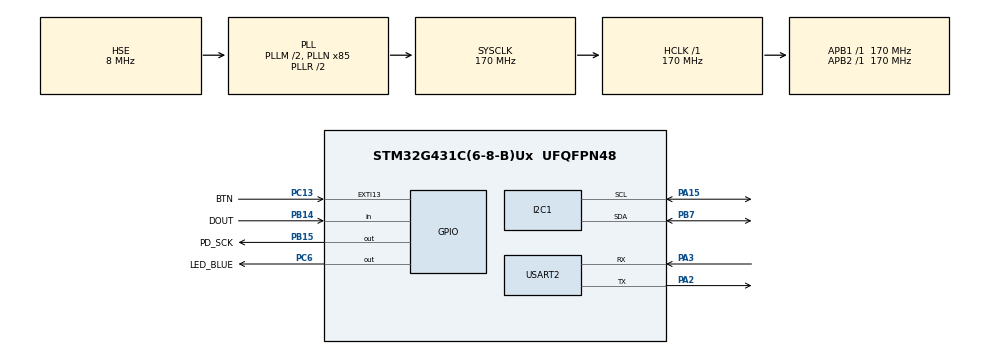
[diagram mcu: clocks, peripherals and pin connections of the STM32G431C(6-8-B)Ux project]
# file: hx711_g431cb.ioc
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I2C1.Timing=0x30A0A7FB
Mcu.Family=STM32G4
Mcu.Name=STM32G431C(6-8-B)Ux
Mcu.Package=UFQFPN48
NVIC.EXTI15_10_IRQn=true\:0\:0\:false\:false\:true\:true\:true\:true
NVIC.PriorityGroup=NVIC_PRIORITYGROUP_4
PA13.Mode=Serial_Wire
PA13.Signal=SYS_JTMS-SWDIO
PA14.Mode=Serial_Wire
PA14.Signal=SYS_JTCK-SWCLK
PA15.Mode=I2C
PA15.Signal=I2C1_SCL
PA2.Mode=Asynchronous
PA2.Signal=USART2_TX
PA3.Mode=Asynchronous
PA3.Signal=USART2_RX
PB14.GPIO_Label=DOUT
PB14.GPIO_PuPd=GPIO_PULLUP
PB14.Signal=GPIO_Input
PB15.GPIO_Label=PD_SCK
PB15.GPIO_Speed=GPIO_SPEED_FREQ_HIGH
PB15.Signal=GPIO_Output
PB7.Mode=I2C
PB7.Signal=I2C1_SDA
PC13.GPIO_Label=BTN
PC13.GPIO_ModeDefaultEXTI=GPIO_MODE_IT_RISING
PC13.GPIO_PuPd=GPIO_PULLDOWN
PC13.Signal=GPXTI13
PC14-OSC32_IN.Mode=LSE-External-Oscillator
PC14-OSC32_IN.Signal=RCC_OSC32_IN
PC15-OSC32_OUT.Mode=LSE-External-Oscillator
PC15-OSC32_OUT.Signal=RCC_OSC32_OUT
PC6.GPIO_Label=LED_BLUE
PC6.Signal=GPIO_Output
PF0-OSC_IN.Mode=HSE-External-Oscillator
PF0-OSC_IN.Signal=RCC_OSC_IN
PF1-OSC_OUT.Mode=HSE-External-Oscillator
PF1-OSC_OUT.Signal=RCC_OSC_OUT
ProjectManager.HeapSize=0x200
ProjectManager.StackSize=0x400
ProjectManager.TargetToolchain=STM32CubeIDE
RCC.ADC12Freq_Value=170000000
RCC.AHBFreq_Value=170000000
RCC.APB1Freq_Value=170000000
RCC.APB1TimFreq_Value=170000000
RCC.APB2Freq_Value=170000000
RCC.APB2TimFreq_Value=170000000
RCC.CortexFreq_Value=170000000
RCC.EXTERNAL_CLOCK_VALUE=12288000
RCC.HCLKFreq_Value=170000000
RCC.HSE_VALUE=8000000
RCC.HSI48_VALUE=48000000
RCC.HSI_VALUE=16000000
RCC.PLLM=RCC_PLLM_DIV2
RCC.PLLN=85
RCC.PLLSourceVirtual=RCC_PLLSOURCE_HSE
RCC.SYSCLKFreq_VALUE=170000000
RCC.SYSCLKSource=RCC_SYSCLKSOURCE_PLLCLK
RCC.USBFreq_Value=170000000
RCC.VCOOutputFreq_Value=340000000
USART2.VirtualMode-Asynchronous=VM_ASYNC
board=custom

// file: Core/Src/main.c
/* USER CODE BEGIN Header */
/**
  ******************************************************************************
  * @file           : main.c
  * @brief          : Main program body
  ******************************************************************************
  * @attention
  *
  * Copyright (c) 2024 STMicroelectronics.
  * All rights reserved.
  *
  * This software is licensed under terms that can be found in the LICENSE file
  * in the root directory of this software component.
  * If no LICENSE file comes with this software, it is provided AS-IS.
  *
  ******************************************************************************
  */
/* USER CODE END Header */
#include "main.h"
#include "i2c.h"
#include "usart.h"
#include "gpio.h"

/* USER CODE BEGIN Includes */
#include <math.h>
#include <stdio.h>
#include <stdlib.h>
#include "hx711.h"
#include "ssd1306.h"
#include "bit_band.h"
#include "eeprom.h"

/* USER CODE END Includes */

/* USER CODE BEGIN PD */
#define MEASURE_AMOUNT		5
/* USER CODE END PD */

/* USER CODE BEGIN PV */
//volatile uint32_t multiplier = 0;
volatile uint8_t status = 0;
volatile uint8_t calibration = 0;
volatile uint8_t sensor_read_flag = 0;
volatile uint8_t button_flag = 0;
int8_t sensor_process_flag = 0;
uint8_t measure_amount = 0;
int16_t avg_value;
int32_t sum_value;
int16_t ref_value;

//double measured_weight;
//uint8_t UartMessage[256];
//uint16_t MessageLength;

char lcd_line[32];
uint32_t SoftTimerLCD;
hx711_t hx711;
int16_t offset;

/* USER CODE END PV */

void SystemClock_Config(void);

int main(void)
{

  /* MCU Configuration--------------------------------------------------------*/

  /* Reset of all peripherals, Initializes the Flash interface and the Systick. */
  HAL_Init();

  /* Configure the system clock */
  SystemClock_Config();

  /* Initialize all configured peripherals */
  MX_GPIO_Init();
  MX_I2C1_Init();
  MX_USART2_UART_Init();
  /* USER CODE BEGIN 2 */
	ssd1306_Init();
	ssd1306_Fill(Black);

	for(int8_t i = 0; i < MEASURE_AMOUNT; i++)
	{
		if(!sensor_process_flag)
		{
			wait_ready(&hx711);
			sum_value += read(&hx711, CHANNEL_A);	//if not in process now
		}
	}
	offset = sum_value / MEASURE_AMOUNT;

	if(GPIOC->IDR & BTN_Pin)
	{
		led_on();
		calibration = 1;
		ssd1306_SetCursor(10, 2);
		ssd1306_WriteString(" press to start", Font_7x10, White);
		ssd1306_SetCursor(5, 15);
		ssd1306_WriteString("calibration", Font_11x18, White);
	}else
	{
		ref_value = settings_load();
		ssd1306_SetCursor(0, 2);
		ssd1306_WriteString("RefValue    Offset", Font_7x10, White);
//		  sprintf(lcd_line, "0x%lX%2d", saved_settings_address, settings_index);
		  sprintf(lcd_line, "%5d%6d", ref_value, offset);
		  ssd1306_SetCursor(5, 15);
		  ssd1306_WriteString(lcd_line, Font_11x18, White);
	}
	ssd1306_UpdateScreen();
	measure_amount = MEASURE_AMOUNT;
  /* USER CODE END 2 */

  /* Infinite loop */
  /* USER CODE BEGIN WHILE */
  while (1)
  {
	  if(calibration)
	  {
		  if(button_flag && !status)
		  {
			  button_flag = 0;
			  status = 1;
			  ssd1306_SetCursor(10, 2);
			  ssd1306_WriteString(" press to stop ", Font_7x10, White);
			  HAL_Delay(500);
			  BIT_BAND_PERI(EXTI->IMR1, EXTI_IMR1_IM13) = 1;
		  }

		  if(button_flag && status)
		  {
			  button_flag = 0;
			  status = 0;
			  calibration = 0;
			  led_off();

			  settings_save(avg_value);			//save multiplier to eeprom
			  ref_value = settings_load();

			  ssd1306_SetCursor(10, 2);
			  ssd1306_WriteString("  measurement  ", Font_7x10, White);
			  sprintf(lcd_line, "RefVal%5d", ref_value);
//			  sprintf(lcd_line, "0x%lX%2d", saved_settings_address, settings_index);
			  ssd1306_SetCursor(5, 15);
			  ssd1306_WriteString(lcd_line, Font_11x18, White);
//			  ssd1306_WriteString("HX711 (DMA)", Font_11x18, White);
			  HAL_Delay(100);
		  }
	  }

	  if(measure_amount)
	  {
		// Measure the weight for channel A
		  if(!sensor_process_flag && is_ready(&hx711))
		  {
			  sum_value += read(&hx711, CHANNEL_A);	//if not in process now
		  }
	  }
	  else	//if(measure_amount == 0)
	  {
		  avg_value = sum_value / MEASURE_AMOUNT - offset;

			sprintf(lcd_line, "%5d g", avg_value);//"%5.0f g", round(measured_weight));
			ssd1306_SetCursor(10, 37);
			ssd1306_WriteString(lcd_line, Font_16x26, White);
			ssd1306_UpdateScreen();
			sum_value = 0;
			measure_amount = MEASURE_AMOUNT;
	  }
    /* USER CODE END WHILE */

  }
}

void SystemClock_Config(void)
{
  RCC_OscInitTypeDef RCC_OscInitStruct = {0};
  RCC_ClkInitTypeDef RCC_ClkInitStruct = {0};

  /** Configure the main internal regulator output voltage
  */
  HAL_PWREx_ControlVoltageScaling(PWR_REGULATOR_VOLTAGE_SCALE1_BOOST);

  /** Initializes the RCC Oscillators according to the specified parameters
  * in the RCC_OscInitTypeDef structure.
  */
  RCC_OscInitStruct.OscillatorType = RCC_OSCILLATORTYPE_HSE;
  RCC_OscInitStruct.HSEState = RCC_HSE_ON;
  RCC_OscInitStruct.PLL.PLLState = RCC_PLL_ON;
  RCC_OscInitStruct.PLL.PLLSource = RCC_PLLSOURCE_HSE;
  RCC_OscInitStruct.PLL.PLLM = RCC_PLLM_DIV2;
  RCC_OscInitStruct.PLL.PLLN = 85;
  RCC_OscInitStruct.PLL.PLLP = RCC_PLLP_DIV2;
  RCC_OscInitStruct.PLL.PLLQ = RCC_PLLQ_DIV2;
  RCC_OscInitStruct.PLL.PLLR = RCC_PLLR_DIV2;
  if (HAL_RCC_OscConfig(&RCC_OscInitStruct) != HAL_OK)
  {
    Error_Handler();
  }

  /** Initializes the CPU, AHB and APB buses clocks
  */
  RCC_ClkInitStruct.ClockType = RCC_CLOCKTYPE_HCLK|RCC_CLOCKTYPE_SYSCLK
                              |RCC_CLOCKTYPE_PCLK1|RCC_CLOCKTYPE_PCLK2;
  RCC_ClkInitStruct.SYSCLKSource = RCC_SYSCLKSOURCE_PLLCLK;
  RCC_ClkInitStruct.AHBCLKDivider = RCC_SYSCLK_DIV1;
  RCC_ClkInitStruct.APB1CLKDivider = RCC_HCLK_DIV1;
  RCC_ClkInitStruct.APB2CLKDivider = RCC_HCLK_DIV1;

  if (HAL_RCC_ClockConfig(&RCC_ClkInitStruct, FLASH_LATENCY_4) != HAL_OK)
  {
    Error_Handler();
  }
}

/* USER CODE BEGIN 4 */
void HAL_GPIO_EXTI_Callback(uint16_t GPIO_Pin)
{
	if (GPIO_Pin == BTN_Pin)
	{	//prevent to stop calibration abruptly
		BIT_BAND_PERI(EXTI->IMR1, EXTI_IMR1_IM13) = 0;
		if(GPIOC->IDR & BTN_Pin) button_flag = 1;
//		HAL_Delay(50);
	}
}
/* USER CODE END 4 */

void Error_Handler(void)
{
  __disable_irq();
  while (1)
  {
  }
}
